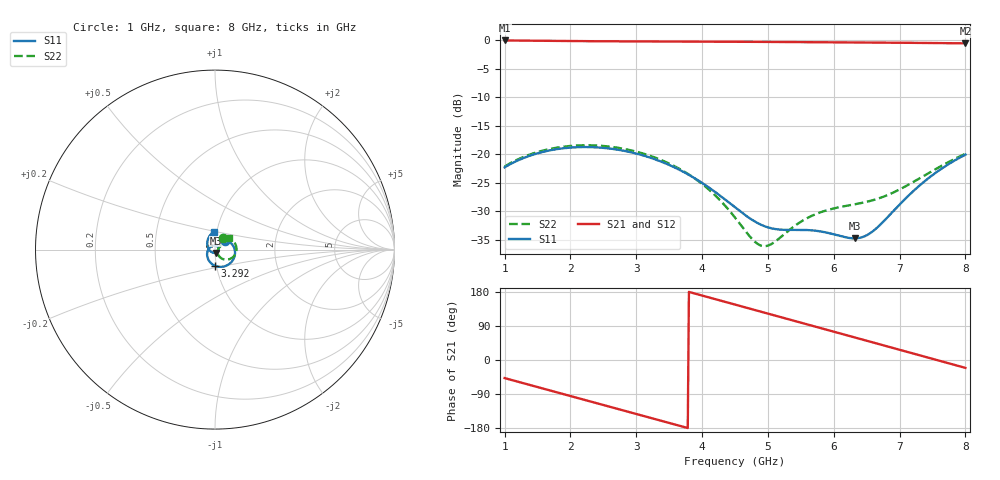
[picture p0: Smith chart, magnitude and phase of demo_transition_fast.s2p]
! kicad2openems line model, skrf (demo_transition)
! ports: 1=P1, 2=P2
# Hz S RI R 50
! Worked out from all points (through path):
!   401 points, 1 GHz to 8 GHz, reference 50 ohm
!   highest |S21| = -0.09 dB at 1 GHz (marker M1); lowest = -0.6 dB at 8 GHz (marker M2)
!   group delay of S21, straight-line fit = 132 ps
!   lowest |S11| = -34.7 dB at 6.32 GHz (marker M3), VSWR 1.04, Z = 50.3 - j1.83 ohm
!   |S11| at or under -10 dB: start of sweep to end of sweep
!   |S22| runs from -36.1 to -18.4 dB; largest |S21 - S12| = 0
!   S11 on the Smith chart (normalised r, x): 1 GHz: 1.12, +0.11; 3.292 GHz: 0.98, -0.18; 8 GHz: 0.97, +0.19
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1e9  0.0581 0.0502  0.6658 -0.7321  0.6658 -0.7321  0.0469 0.0625
1.595e9  0.1042 0.0155  0.2383 -0.9527  0.2383 -0.9527  0.0948 0.0521
1.875e9  0.1117 -0.0137  0.0136 -0.9787  0.0136 -0.9787  0.1107 0.0349
2.1725e9  0.106 -0.0462  -0.2238 -0.9498  -0.2238 -0.9498  0.1191 0.0119
2.6975e9  0.0653 -0.0887  -0.5991 -0.7654  -0.5991 -0.7654  0.1109 -0.0287
3.2925e9  -4.56e-05 -0.09  -0.887 -0.3909  -0.887 -0.3909  0.0756 -0.0546
3.345e9  -0.00525 -0.0876  -0.9029 -0.3519  -0.9029 -0.3519  0.0719 -0.0553
3.6425e9  -0.0295 -0.0677  -0.9605 -0.1208  -0.9605 -0.1208  0.0515 -0.0549
3.9225e9  -0.042 -0.0428  -0.9615 0.1037  -0.9615 0.1037  0.035 -0.0481
4.2025e9  -0.0433 -0.0172  -0.9104 0.3224  -0.9104 0.3224  0.0229 -0.037
4.5e9  -0.0339 0.00547  -0.8023 0.5348  -0.8023 0.5348  0.0159 -0.023
4.78e9  -0.0184 0.0187  -0.6558 0.7044  -0.6558 0.7044  0.0143 -0.0103
4.955e9  -0.00757 0.0222  -0.5458 0.7912  -0.5458 0.7912  0.0154 -0.00335
5.3225e9  0.0124 0.0179  -0.2813 0.9162  -0.2813 0.9162  0.0203 0.0076
5.6725e9  0.0212 0.0041  -0.00627 0.9556  -0.00627 0.9556  0.0257 0.0136
5.9875e9  0.0175 -0.0097  0.241 0.9222  0.241 0.9222  0.0289 0.0168
6.32e9  0.00296 -0.0182  0.4825 0.819  0.4825 0.819  0.0302 0.0205
6.5475e9  -0.0107 -0.0172  0.627 0.7121  0.627 0.7121  0.0305 0.0243
6.845e9  -0.0286 -0.006  0.7806 0.535  0.7806 0.535  0.0315 0.0317
7.1425e9  -0.0409 0.0159  0.8856 0.3259  0.8856 0.3259  0.0352 0.0416
7.4225e9  -0.0427 0.0432  0.9342 0.1116  0.9342 0.1116  0.043 0.052
8e9  -0.00782 0.0989  0.873 -0.3316  0.873 -0.3316  0.0754 0.0672
